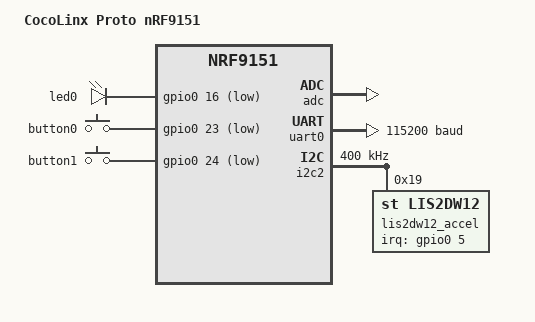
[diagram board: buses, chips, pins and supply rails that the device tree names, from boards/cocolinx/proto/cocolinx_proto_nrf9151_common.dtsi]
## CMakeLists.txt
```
cmake_minimum_required(VERSION 3.20.0)
find_package(Zephyr REQUIRED HINTS $ENV{ZEPHYR_BASE})

project(accel)

target_sources(app PRIVATE src/main.c)
```

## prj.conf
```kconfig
CONFIG_FPU=y

# Stacks and heaps
CONFIG_MAIN_STACK_SIZE=4096
CONFIG_HEAP_MEM_POOL_SIZE=4096

# Log
CONFIG_LOG=y
CONFIG_LOG_DEFAULT_LEVEL=3
CONFIG_LOG_BUFFER_SIZE=2048
CONFIG_LOG_BACKEND_RTT=n

# Modem library
CONFIG_NRF_MODEM_LIB=y
CONFIG_NRF_MODEM_LIB_TRACE=n
CONFIG_ZVFS_OPEN_MAX=8

# FLASH # NVS
CONFIG_FLASH=y
CONFIG_FLASH_MAP=y
CONFIG_FLASH_PAGE_LAYOUT=y
CONFIG_MPU_ALLOW_FLASH_WRITE=y
CONFIG_NVS=y

# I2C
CONFIG_I2C=y

# GPIO
CONFIG_GPIO=y

# LIS2DW12
CONFIG_SENSOR=y
CONFIG_LIS2DW12=y
CONFIG_LIS2DW12_TRIGGER_GLOBAL_THREAD=y
```

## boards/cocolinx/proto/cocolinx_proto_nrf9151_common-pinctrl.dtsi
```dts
/*
 * Copyright (c) 2025 cocolinx
 * SPDX-License-Identifier: Apache-2.0
 */

&pinctrl {
	uart0_default: uart0_default {
		group1 {
			psels = <NRF_PSEL(UART_TX, 0, 21)>,
					<NRF_PSEL(UART_RX, 0, 22)>;
		};
	};
	uart0_sleep: uart0_sleep {
		group1 {
			psels = <NRF_PSEL(UART_TX, 0, 21)>,
					<NRF_PSEL(UART_RX, 0, 22)>;
			low-power-enable;
		};
	};
	// uart2_default: uart2_default {
	// 	group1 {
	// 		psels = <NRF_PSEL(UART_TX, 0, 8)>,
	// 				<NRF_PSEL(UART_RX, 0, 9)>;
	// 	};
	// };
	// uart2_sleep: uart2_sleep {
	// 	group1 {
	// 		psels = <NRF_PSEL(UART_TX, 0, 8)>,
	// 				<NRF_PSEL(UART_RX, 0, 9)>;
	// 		low-power-enable;
	// 	};
	// };

	// pwm0_default: pwm0_default {
	// 	group1 {
	// 		psels = <NRF_PSEL(PWM_OUT0, 0, 20)>;
	// 	};
	// };

	// pwm0_sleep: pwm0_sleep {
	// 	group1 {
	// 		psels = <NRF_PSEL(PWM_OUT0, 0, 20)>;
	// 		low-power-enable;
	// 	};
	// };

	// spi3_default: spi3_default {
	// 	group1 {
	// 		psels = <NRF_PSEL(SPIM_SCK, 0, 29)>,
	// 			<NRF_PSEL(SPIM_MOSI, 0, 30)>,
	// 			<NRF_PSEL(SPIM_MISO, 0, 31)>;
	// 	};
	// };

	// spi3_sleep: spi3_sleep {
	// 	group1 {
	// 		psels = <NRF_PSEL(SPIM_SCK, 0, 29)>,
	// 			<NRF_PSEL(SPIM_MOSI, 0, 30)>,
	// 			<NRF_PSEL(SPIM_MISO, 0, 31)>;
	// 		low-power-enable;
	// 	};
	// };

	i2c1_default: i2c1_default {
		group1 {
			psels = <NRF_PSEL(TWIM_SDA, 0, 7)>,
				<NRF_PSEL(TWIM_SCL, 0, 6)>;
		};
	};

	i2c1_sleep: i2c1_sleep {
		group1 {
			psels = <NRF_PSEL(TWIM_SDA, 0, 7)>,
				<NRF_PSEL(TWIM_SCL, 0, 6)>;
			low-power-enable;
		};
	};
};
```

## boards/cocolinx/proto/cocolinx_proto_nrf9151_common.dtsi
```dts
/*
 * Copyright (c) 2025 cocolinx
 *
 * SPDX-License-Identifier: Apache-2.0
 */
#include "cocolinx_proto_nrf9151_common-pinctrl.dtsi"
#include <zephyr/dt-bindings/input/input-event-codes.h>

/ {
	model = "CocoLinx Proto nRF9151";
	compatible = "cocolinx,proto_nrf9151";

	chosen {
		zephyr,console = &uart0;
		zephyr,shell-uart = &uart0;
		zephyr,uart-mcumgr = &uart0;
	};

	leds {
		compatible = "gpio-leds";
		led0: led_0 {
			gpios = <&gpio0 16 GPIO_ACTIVE_LOW>;
			label = "led0";
		};
	};

	buttons {
		compatible = "gpio-keys";
		button0: button_0 {
			gpios = <&gpio0 23 (GPIO_ACTIVE_LOW)>;
			label = "button0";
			zephyr,code = <INPUT_KEY_0>;
		};
		button1: button_1 {
			gpios = <&gpio0 24 (GPIO_ACTIVE_LOW)>;
			label = "button1";
			zephyr,code = <INPUT_KEY_1>;
		};
	};

	aliases {
		watchdog0 = &wdt0;
		led0 = &led0;
		button0 = &button0;
		button1 = &button1;
		accel0 = &lis2dw12_accel;
	};
};

&adc {
	status = "okay";
};

&gpiote {
	status = "okay";
};

&gpio0 {
	status = "okay";
};

&uart0 {
	status = "okay";
	current-speed = <115200>;
	pinctrl-0 = <&uart0_default>;
	pinctrl-1 = <&uart0_sleep>;
	pinctrl-names = "default", "sleep";
};

// &uart2 {
// 	status = "okay";
// 	current-speed = <115200>;
// 	pinctrl-0 = <&uart2_default>;
// 	pinctrl-1 = <&uart2_sleep>;
// 	pinctrl-names = "default", "sleep";
// };

// &spi3 {
// 	compatible = "nordic,nrf-spim";
// 	status = "okay";
// 	cs-gpios = < &gpio0 30 GPIO_ACTIVE_LOW >;
// 	pinctrl-0 = <&spi3_default>;
// 	pinctrl-1 = <&spi3_sleep>;
// 	pinctrl-names = "default", "sleep";	
// };

&i2c2 {
	compatible = "nordic,nrf-twim";
	status = "okay";
	pinctrl-0 = <&i2c1_default>;
	pinctrl-1 = <&i2c1_sleep>;
	pinctrl-names = "default", "sleep";
	clock-frequency = <I2C_BITRATE_FAST>;

	lis2dw12_accel: lis2dw12@19 {
		compatible = "st,lis2dw12";
		status = "okay";
		reg = <0x19>;
		odr = <1>; /* set odr to change output data rate */
		tap-mode = <1>;
		tap-threshold = <12>, <12>, <12>;
		range = <2>;
		power-mode = <0>;
		tap-shock = <0x03>;
		tap-quiet = <0x03>;
		tap-latency = <0x03>;
		irq-gpios = <&gpio0 5 GPIO_ACTIVE_HIGH>;
	};
};

// &pwm0 {
// 	status = "okay";
// 	pinctrl-0 = <&pwm0_default>;
// 	pinctrl-1 = <&pwm0_sleep>;
// 	pinctrl-names = "default", "sleep";
// };

/* Include default memory partition configuration file */
#include <nordic/nrf91xx_partition.dtsi>
```

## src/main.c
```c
#include <zephyr/kernel.h>
#include <zephyr/drivers/sensor.h>
#include <zephyr/logging/log.h>
#include <modem/nrf_modem_lib.h>
#include <stdio.h>
#include <zephyr/drivers/i2c.h>

LOG_MODULE_REGISTER(main, CONFIG_LOG_DEFAULT_LEVEL);

K_SEM_DEFINE(sem, 0, 1); /* starts off "not available" */

static const struct device *const dev = DEVICE_DT_GET(DT_ALIAS(accel0));


static void trigger_handler(const struct device *dev, const struct sensor_trigger *trigger)
{
	ARG_UNUSED(trigger);

	/* Always fetch the sample to clear the data ready interrupt in the
	 * sensor.
	 */
    int err;
    err = sensor_sample_fetch_chan(dev, SENSOR_CHAN_ACCEL_XYZ);
    if (err) {
        LOG_ERR("sensor_sample_fetch failed: %s, %d", strerror(-err), err);
        return;
    }
	k_sem_give(&sem);
}

int main(void)
{
    int err;
    err = nrf_modem_lib_init();
    if(err < 0) {
        LOG_ERR("Unable to initialize modem lib. (err: %d)", err);
        return 0;
    }

    LOG_INF("=====ACCELEROMETER EXAMPLE=====");

    struct sensor_value data[3];
    struct sensor_trigger trig = {
            .type = SENSOR_TRIG_DATA_READY,
            .chan = SENSOR_CHAN_ACCEL_XYZ,
    };

    if (!device_is_ready(dev)) {
        LOG_ERR("Device %s is not ready\n", dev->name);
        return 0;
    }

    err = sensor_trigger_set(dev, &trig, trigger_handler);
    if (err != 0) {
        LOG_ERR("Could not set trigger, error %d", err);
        return 0;
    }


    while (1) {
        k_sem_take(&sem, K_FOREVER);

        sensor_channel_get(dev, SENSOR_CHAN_ACCEL_XYZ, data);
        /* Print accel x,y,z data */
        LOG_INF("%s [m/s^2]: (%8.6f, %8.6f, %8.6f)\n", dev->name,
                sensor_value_to_double(&data[0]), sensor_value_to_double(&data[1]), sensor_value_to_double(&data[2]));
    }
}
```
